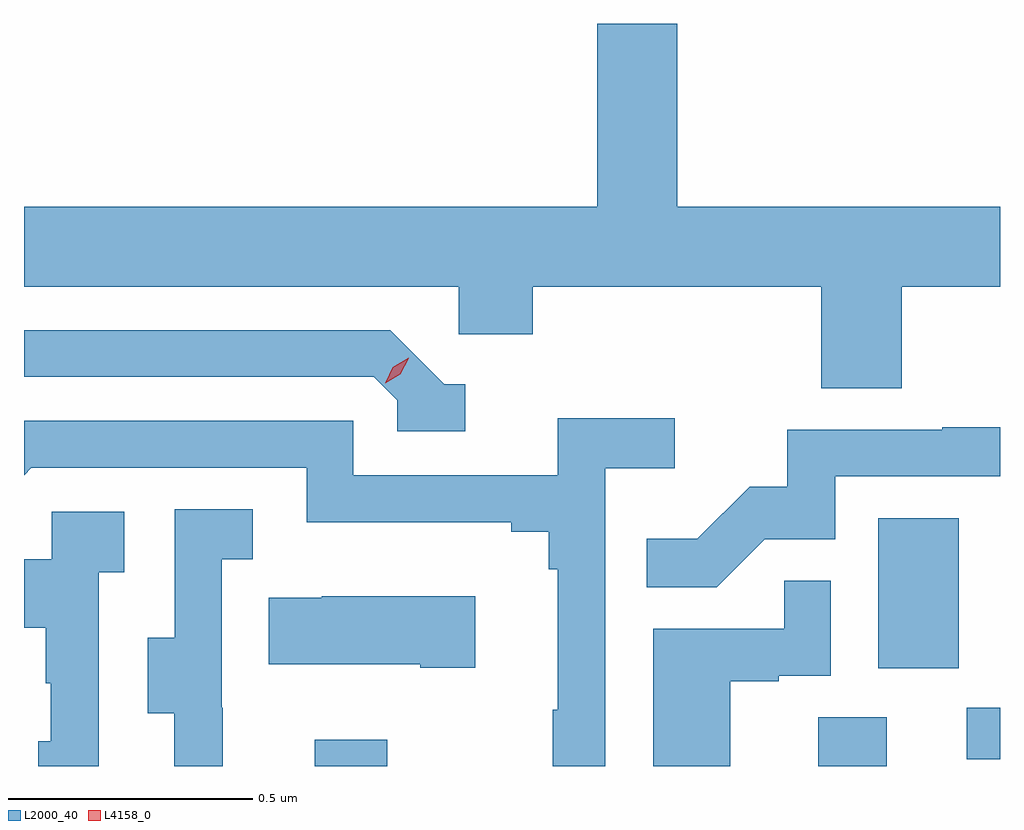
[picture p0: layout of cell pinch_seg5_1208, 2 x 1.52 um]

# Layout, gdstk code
import gdstk
lib = gdstk.Library(unit=1e-6, precision=1e-09)
def R(c, l, rs):  # rectangles x0, y0, x1, y1
    for r in rs: c.add(gdstk.rectangle(r[:2], r[2:], *l))
def P(c, l, *ps):  # polygons
    for p in ps: c.add(gdstk.Polygon(p, *l))
L2000_40 = (2000, 40)
L4158_0 = (4158, 0)

pinch_seg5_1208 = lib.new_cell('pinch_seg5_1208')
R(pinch_seg5_1208, L2000_40, [(835.757,846.453,835.905,846.508), (836.789,846.453,836.929,846.554), (837.093,846.468,837.161,846.573), (836.912,846.654,837.076,846.961)])
P(pinch_seg5_1208, L2000_40, [(836.96,847.436),(837.161,847.436),(837.161,847.6),(836.5,847.6),(836.5,847.975),(836.336,847.975),(836.336,847.6),(835.161,847.6),(835.161,847.436),(836.052,847.436),(836.052,847.338),(836.204,847.338),(836.204,847.436),(836.795,847.436),(836.795,847.228),(836.96,847.228)],
  [(836.065,847.236),(836.022,847.236),(835.911,847.347),(835.161,847.347),(835.161,847.251),(835.878,847.251),(835.926,847.203),(835.926,847.14),(836.065,847.14)],
  [(836.352,847.064),(836.494,847.064),(836.494,847.166),(836.255,847.166),(836.255,847.05),(835.836,847.05),(835.836,847.161),(835.161,847.161),(835.161,847.05),(835.176,847.065),(835.74,847.065),(835.74,846.953),(836.159,846.953),(836.159,846.934),(836.236,846.934),(836.236,846.857),(836.255,846.857),(836.255,846.569),(836.244,846.569),(836.244,846.453),(836.352,846.453)],
  [(836.679,846.918),(836.823,846.918),(836.823,847.047),(837.161,847.047),(837.161,847.148),(837.043,847.148),(837.043,847.143),(836.725,847.143),(836.725,847.026),(836.648,847.026),(836.541,846.919),(836.437,846.919),(836.437,846.82),(836.581,846.82)],
  [(835.568,846.573),(835.566,846.573),(835.566,846.877),(835.63,846.877),(835.63,846.98),(835.47,846.98),(835.47,846.717),(835.415,846.717),(835.415,846.562),(835.469,846.562),(835.469,846.453),(835.568,846.453)],
  [(835.314,846.851),(835.366,846.851),(835.366,846.975),(835.218,846.975),(835.218,846.877),(835.161,846.877),(835.161,846.737),(835.206,846.737),(835.206,846.623),(835.216,846.623),(835.216,846.504),(835.19,846.504),(835.19,846.453),(835.314,846.453)],
  [(836.608,846.627),(836.708,846.627),(836.708,846.639),(836.814,846.639),(836.814,846.833),(836.719,846.833),(836.719,846.735),(836.45,846.735),(836.45,846.453),(836.608,846.453)],
  [(836.086,846.802),(835.771,846.802),(835.771,846.799),(835.663,846.799),(835.663,846.662),(835.973,846.662),(835.973,846.655),(836.086,846.655)])
P(pinch_seg5_1208, L4158_0, [(835.901,847.238),(835.901,847.238),(835.917,847.271),(835.949,847.29),(835.949,847.29),(835.949,847.289),(835.932,847.257),(835.901,847.238)])

lib.write_gds('pinch_seg5_1208.gds')
